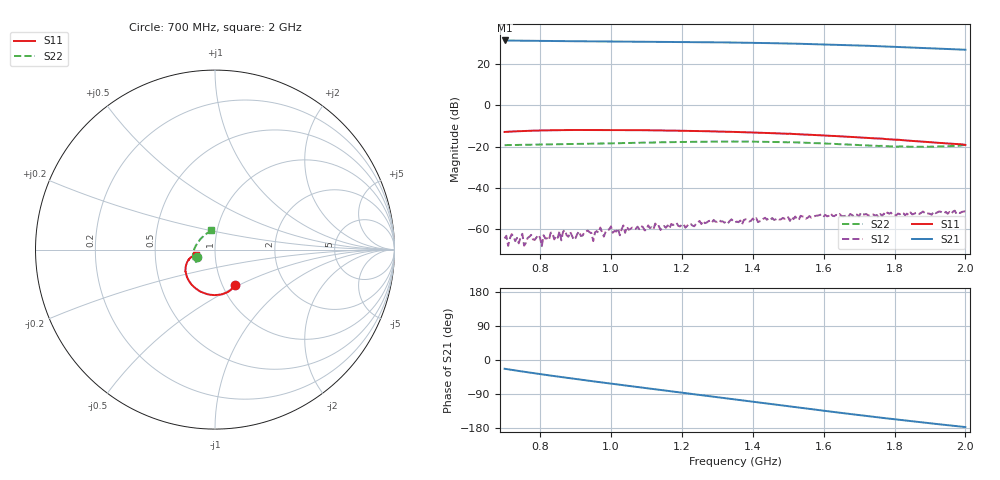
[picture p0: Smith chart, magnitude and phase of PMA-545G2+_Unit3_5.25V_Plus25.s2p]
!Mini-Circuits Laboratory
!S-Parameters
!Model: PMA-545G2+
!Run / Lot / Date Code: N/A / N/A / NA
!Fixture: NA; TEST BOARD: TB-607+
!AUTO PORT EXTENSION DONE: PORT<1>=120.99ps; PORT<2>=143.047ps
!Network Analyzer: PNA-X N5242A - 423 4 ports;  Serial number: 71256
!Date: 1/11/2011
!S/N: Unit# 3
# Hz  S  dB  R  50
!Frequency  S11 dB  S11 Deg  S21 dB  S21 Deg  S12 dB  S12 Deg  S22 dB  S22 Deg
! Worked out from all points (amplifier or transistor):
!   261 points, 700 MHz to 2 GHz, reference 50 ohm
!   highest |S21| = 31.6 dB at 700 MHz (marker M1)
!   |S21| within 3 dB of that: start of sweep to 1.789 GHz
!   unconditionally stable (mu >= 1): start of sweep to end of sweep
!   at 915 MHz: K = 18.97, MAG = 31.6 dB, |S12| = -63.5 dB
!   at 1.35 GHz: K = 9.66, MAG = 30.9 dB, |S12| = -56.9 dB
!   at 2 GHz: K = 8.13, MAG = 27.2 dB, |S12| = -51.5 dB
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7e8  -12.89 -60.9  31.63 -23.1  -64.74 137.7  -19.36 -158.6
7.5e8  -12.45 -66.7  31.51 -30.4  -62.47 141.0  -19.16 -156.3
7.55e8  -12.44 -67.3  31.50 -31.1  -68.22 131.8  -19.16 -156.3
7.95e8  -12.22 -71.8  31.41 -36.5  -63.04 154.0  -19.08 -154.7
8.05e8  -12.17 -73.0  31.40 -37.8  -68.49 125.5  -19.02 -154.2
8.1e8  -12.14 -73.6  31.39 -38.5  -63.14 130.0  -18.98 -154.1
8.6e8  -12.02 -79.4  31.31 -45.0  -65.66 143.6  -18.90 -152.6
9.2e8  -11.94 -86.0  31.23 -52.6  -63.38 131.8  -18.71 -150.6
9.85e8  -11.92 -93.1  31.16 -60.5  -61.54 140.5  -18.53 -148.7
1.035e9  -11.95 -98.7  31.10 -66.5  -58.43 134.2  -18.30 -147.8
1.135e9  -12.12 -109.2  30.99 -78.4  -58.65 129.8  -17.94 -147.3
1.19e9  -12.29 -114.9  30.91 -85.0  -58.64 118.9  -17.81 -148.1
1.245e9  -12.47 -120.2  30.83 -91.6  -56.95 126.4  -17.68 -149.3
1.35e9  -12.89 -130.4  30.61 -104.1  -56.93 125.0  -17.58 -154.2
1.455e9  -13.50 -139.5  30.31 -116.7  -54.79 115.3  -17.76 -161.3
1.51e9  -13.84 -144.3  30.11 -123.3  -54.24 120.4  -17.90 -166.4
1.57e9  -14.35 -148.5  29.85 -130.3  -54.14 103.6  -18.30 -172.9
1.675e9  -15.29 -155.3  29.33 -142.5  -52.81 113.7  -19.11 172.3
1.725e9  -15.82 -157.9  29.04 -148.1  -53.38 103.5  -19.47 163.5
1.785e9  -16.48 -160.4  28.66 -154.7  -52.71 103.1  -19.90 150.9
1.88e9  -17.63 -163.2  28.01 -164.9  -51.63 95.1  -20.14 129.1
2e9  -19.20 -164.1  27.11 -177.0  -51.52 97.3  -19.25 100.4
